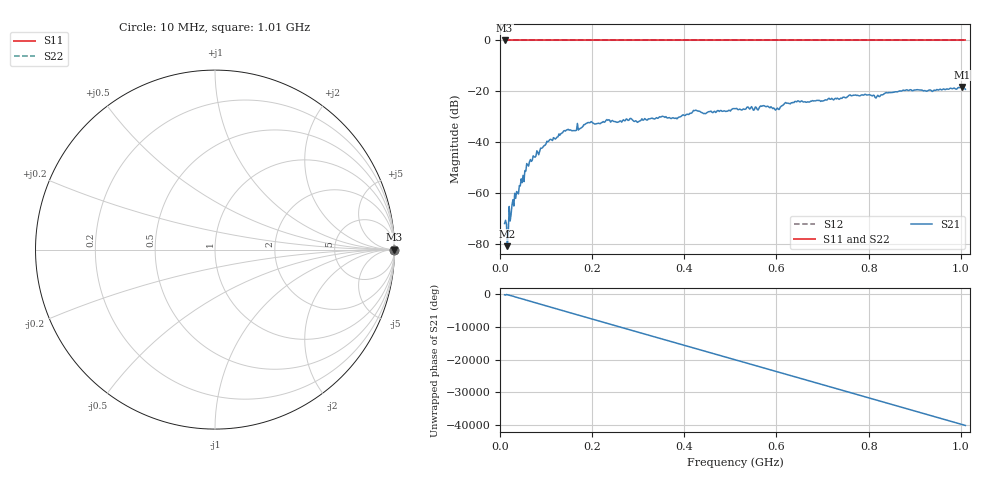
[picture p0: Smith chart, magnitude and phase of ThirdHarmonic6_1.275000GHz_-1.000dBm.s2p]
! 8/16/2025 1:49:50 PM
! C:\ANRITSUVNA\TEMP\TEMP.S2P
! CHANNEL.1
! TR.MEASUREMENT
! RAW.DATA
! RF.CORRECTION.OFF
! AVERAGING.OFF
! IF.BANDWIDTH: 5KHZ
! SWEEPTYPE:  FREQ.SWEEP(Linear)
! Reference Plane Port Info
! PORT:  PORT1  PORT2
! DISTANCE:  0  m  0  m
! TIME:  0  s  0  s
! PHASE.OFFSET:  0  deg.  0  deg.
! LOSS:  0  dB  0  dB
! REF.LOSS:  0  dB  0  dB
! REF.FREQ:  0  Hz  0  Hz
! Power Info
! POWER:  -20  dBm  -20  dBm
! EFF.POWER:  -20  dBm  -20  dBm
! SOURCE.ATTEN:  0  dB  0  dB
! TEST.ATTEN:  0  dB  0  dB
# GHZ S RI R 50.0
! FREQ.GHZ  S11RE  S11IM  S21RE  S21IM  S12RE  S12IM  S22RE  S22IM
!; PortSelection: Port_12
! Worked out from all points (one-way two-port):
!   501 points, 10 MHz to 1.01 GHz, reference 50 ohm
!   highest |S21| = -18.35 dB at 1.002 GHz (marker M1); lowest = -80.9 dB at 16 MHz (marker M2)
!   lowest |S11| = 0.0 dB at 10 MHz (marker M3)
!   |S11| at or under -10 dB: nowhere
!   |S22| runs from 0.0 to 0.0 dB; largest |S21 - S12| = 1.1
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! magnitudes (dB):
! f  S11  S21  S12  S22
! 10 MHz  0.0  -72.0  0.0  0.0
! 14 MHz  0.0  -72.1  0.0  0.0
! 16 MHz  0.0  -80.9  0.0  0.0
! 20 MHz  0.0  -65.3  0.0  0.0
! 24 MHz  0.0  -68.5  0.0  0.0
! 26 MHz  0.0  -64.9  0.0  0.0
! 32 MHz  0.0  -60.1  0.0  0.0
! 62 MHz  0.0  -49.4  0.0  0.0
! 106 MHz  0.0  -39.5  0.0  0.0
! 142 MHz  0.0  -35.7  0.0  0.0
! 178 MHz  0.0  -34.2  0.0  0.0
! 234 MHz  0.0  -31.4  0.0  0.0
! 300 MHz  0.0  -32.0  0.0  0.0
! 344 MHz  0.0  -30.5  0.0  0.0
! 510 MHz  0.0  -26.8  0.0  0.0
! 570 MHz  0.0  -25.7  0.0  0.0
! 602 MHz  0.0  -26.6  0.0  0.0
! 620 MHz  0.0  -24.4  0.0  0.0
! 678 MHz  0.0  -23.7  0.0  0.0
! 844 MHz  0.0  -20.5  0.0  0.0
! 1.002 GHz  0.0  -18.3  0.0  0.0
! 1.01 GHz  0.0  -19.2  0.0  0.0
